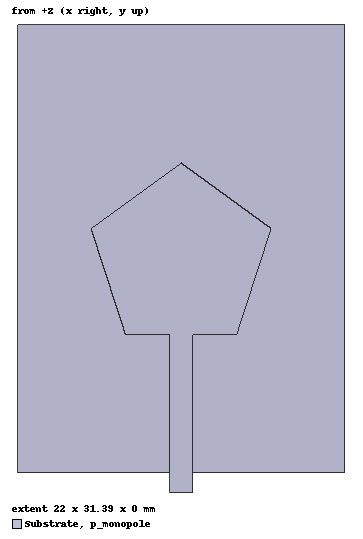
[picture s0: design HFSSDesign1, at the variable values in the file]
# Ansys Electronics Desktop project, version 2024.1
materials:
  vacuum: permittivity=1

design HFSSDesign1 (HFSS, HFSS Terminal Network, model units mm)
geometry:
  CPW = rectangle(corner=((-22/2) mm, (30/2) mm, 0mm), x_size=22mm, y_size=-30mm)
  Polyline1 = polyline((0.15mm, -6.35mm, 0mm) (10mm, -6.35mm, 0mm))
  Polyline2 = polyline((0.15mm, -6.35mm, 0mm) (-10mm, -6.35mm, 0mm))
  p_monopole = regular_polygon(axis=Z, centre=(0mm, 0mm, 0mm), first_corner=(0mm, 6.35mm, 0mm), sides=5)
  p_monopole.move(0mm, -1.2127421mm, 0mm)
  Rectangle2 = rectangle(corner=(0.75mm, 0mm, 0mm), x_size=-1.5mm, y_size=-17mm)
  Rectangle3 = rectangle(corner=(-10mm, 6mm, 0mm), x_size=20mm, y_size=-12mm)
  Rectangle4 = rectangle(corner=(-0.8mm, 0mm, 0mm), x_size=1.6mm, y_size=-15mm)
  p_monopole.unite(Rectangle2)
  Rectangle4.unite(Rectangle3)
  CPW.subtract(Rectangle4)
  CPW.move(0mm, -0.606371041mm, 0mm)
  Substrate [vacuum] = box(corner=(-11mm, 14.393629mm, 0mm), size=(22mm, -30mm, 0mm))
